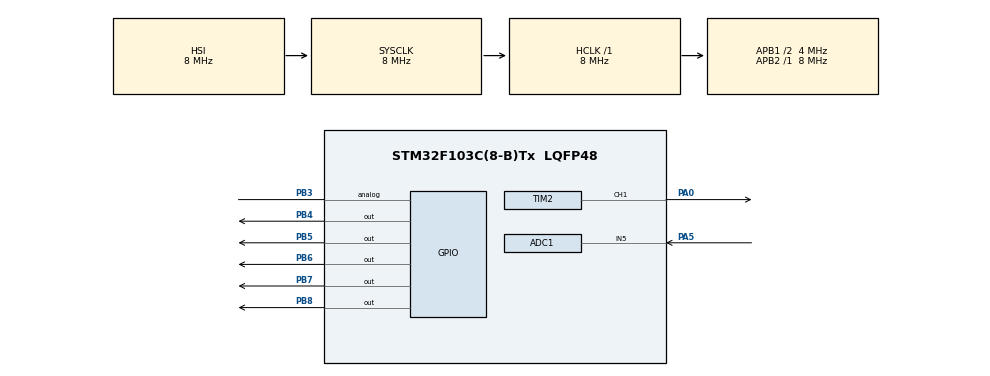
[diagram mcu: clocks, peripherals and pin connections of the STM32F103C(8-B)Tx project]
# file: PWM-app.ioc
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ADC1.Channel-0\#ChannelRegularConversion=ADC_CHANNEL_5
ADC1.NbrOfConversionFlag=1
ADC1.Rank-0\#ChannelRegularConversion=1
ADC1.SamplingTime-0\#ChannelRegularConversion=ADC_SAMPLETIME_1CYCLE_5
ADC1.master=1
Mcu.Family=STM32F1
Mcu.Name=STM32F103C(8-B)Tx
Mcu.Package=LQFP48
NVIC.PriorityGroup=NVIC_PRIORITYGROUP_4
PA0-WKUP.Signal=S_TIM2_CH1_ETR
PA13.Mode=Serial_Wire
PA13.Signal=SYS_JTMS-SWDIO
PA14.Mode=Serial_Wire
PA14.Signal=SYS_JTCK-SWCLK
PA5.Signal=ADCx_IN5
PB3.Signal=GPIO_Analog
PB4.Signal=GPIO_Output
PB5.Signal=GPIO_Output
PB6.Signal=GPIO_Output
PB7.Signal=GPIO_Output
PB8.Signal=GPIO_Output
PD0-OSC_IN.Mode=HSE-External-Oscillator
PD0-OSC_IN.Signal=RCC_OSC_IN
PD1-OSC_OUT.Mode=HSE-External-Oscillator
PD1-OSC_OUT.Signal=RCC_OSC_OUT
ProjectManager.HeapSize=0x200
ProjectManager.StackSize=0x400
ProjectManager.TargetToolchain=STM32CubeIDE
RCC.AHBFreq_Value=8000000
RCC.APB1CLKDivider=RCC_HCLK_DIV2
RCC.APB1Freq_Value=4000000
RCC.APB1TimFreq_Value=8000000
RCC.APB2Freq_Value=8000000
RCC.APB2TimFreq_Value=8000000
RCC.HCLKFreq_Value=8000000
RCC.PLLMUL=RCC_PLL_MUL9
RCC.SYSCLKFreq_VALUE=8000000
RCC.USBFreq_Value=36000000
SH.ADCx_IN5.0=ADC1_IN5,IN5
SH.S_TIM2_CH1_ETR.0=TIM2_CH1,PWM Generation1 CH1
TIM2.AutoReloadPreload=TIM_AUTORELOAD_PRELOAD_DISABLE
TIM2.Channel-PWM\ Generation1\ CH1=TIM_CHANNEL_1
TIM2.Period=20000-1
TIM2.Prescaler=8-1
TIM2.Pulse-PWM\ Generation1\ CH1=10000
VP_TIM2_VS_ClockSourceINT.Mode=Internal
board=custom

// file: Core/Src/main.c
/* USER CODE BEGIN Header */
/**
 ******************************************************************************
 * @file           : main.c
 * @brief          : Main program body
 ******************************************************************************
 * @attention
 *
 * Copyright (c) 2023 STMicroelectronics.
 * All rights reserved.
 *
 * This software is licensed under terms that can be found in the LICENSE file
 * in the root directory of this software component.
 * If no LICENSE file comes with this software, it is provided AS-IS.
 *
 ******************************************************************************
 */
#define DUTY_CYCLE ((int)(((float) AD_RES / 4096)*14)+0)
#define SERVO_ANGLE (int)(((float)DUTY_CYCLE/13)*180)
/* USER CODE END Header */
#include "main.h"

/* USER CODE BEGIN Includes */
#include "../../Drivers/ECAL_Driver/inc/lcd.h"
#include <math.h>

/* USER CODE END Includes */

ADC_HandleTypeDef hadc1;

TIM_HandleTypeDef htim2;

void SystemClock_Config(void);
static void MX_GPIO_Init(void);
static void MX_ADC1_Init(void);
static void MX_TIM2_Init(void);

/* USER CODE BEGIN 0 */
uint16_t AD_RES = 0;
uint16_t AD_RES_Old = 0;

/* USER CODE END 0 */

int main(void) {

	/* MCU Configuration--------------------------------------------------------*/

	/* Reset of all peripherals, Initializes the Flash interface and the Systick. */
	HAL_Init();

	/* Configure the system clock */
	SystemClock_Config();

	/* Initialize all configured peripherals */
	MX_GPIO_Init();
	MX_ADC1_Init();
	MX_TIM2_Init();
	/* USER CODE BEGIN 2 */
	HAL_ADCEx_Calibration_Start(&hadc1);
	HAL_TIM_PWM_Start(&htim2, TIM_CHANNEL_1);
	LCD_Init();
	LCD_Clear();
	LCD_Puts(0, 0, "Servo Angle: ");
	LCD_Puts(0, 1, "Duty Cycle : ");
	//LCD_Puts(0, 1, "U Have Pure Heart");

	/* USER CODE END 2 */

	/* Infinite loop */
	/* USER CODE BEGIN WHILE */
	while (1) {
		HAL_ADC_Start(&hadc1);
		HAL_ADC_PollForConversion(&hadc1, 1);
		AD_RES = HAL_ADC_GetValue(&hadc1);
		//if (abs(AD_RES - AD_RES_Old) >= 5) {
		__HAL_TIM_SET_COMPARE(&htim2, TIM_CHANNEL_1,
				(int)((float)DUTY_CYCLE/100 * (20000-1) ));
		LCD_Puts_int(13, 0, (int) (SERVO_ANGLE));
		LCD_Puts_int(13, 1, (int) (DUTY_CYCLE));
		//AD_RES_Old = AD_RES;
		//}
		HAL_Delay(1);
		/* USER CODE END WHILE */

	}
}

void SystemClock_Config(void) {
	RCC_OscInitTypeDef RCC_OscInitStruct = { 0 };
	RCC_ClkInitTypeDef RCC_ClkInitStruct = { 0 };
	RCC_PeriphCLKInitTypeDef PeriphClkInit = { 0 };

	/** Initializes the RCC Oscillators according to the specified parameters
	 * in the RCC_OscInitTypeDef structure.
	 */
	RCC_OscInitStruct.OscillatorType = RCC_OSCILLATORTYPE_HSI;
	RCC_OscInitStruct.HSIState = RCC_HSI_ON;
	RCC_OscInitStruct.HSICalibrationValue = RCC_HSICALIBRATION_DEFAULT;
	RCC_OscInitStruct.PLL.PLLState = RCC_PLL_NONE;
	if (HAL_RCC_OscConfig(&RCC_OscInitStruct) != HAL_OK) {
		Error_Handler();
	}

	/** Initializes the CPU, AHB and APB buses clocks
	 */
	RCC_ClkInitStruct.ClockType = RCC_CLOCKTYPE_HCLK | RCC_CLOCKTYPE_SYSCLK
			| RCC_CLOCKTYPE_PCLK1 | RCC_CLOCKTYPE_PCLK2;
	RCC_ClkInitStruct.SYSCLKSource = RCC_SYSCLKSOURCE_HSI;
	RCC_ClkInitStruct.AHBCLKDivider = RCC_SYSCLK_DIV1;
	RCC_ClkInitStruct.APB1CLKDivider = RCC_HCLK_DIV2;
	RCC_ClkInitStruct.APB2CLKDivider = RCC_HCLK_DIV1;

	if (HAL_RCC_ClockConfig(&RCC_ClkInitStruct, FLASH_LATENCY_0) != HAL_OK) {
		Error_Handler();
	}
	PeriphClkInit.PeriphClockSelection = RCC_PERIPHCLK_ADC;
	PeriphClkInit.AdcClockSelection = RCC_ADCPCLK2_DIV2;
	if (HAL_RCCEx_PeriphCLKConfig(&PeriphClkInit) != HAL_OK) {
		Error_Handler();
	}
}

static void MX_ADC1_Init(void) {

	ADC_ChannelConfTypeDef sConfig = { 0 };

	/** Common config
	 */
	hadc1.Instance = ADC1;
	hadc1.Init.ScanConvMode = ADC_SCAN_DISABLE;
	hadc1.Init.ContinuousConvMode = DISABLE;
	hadc1.Init.DiscontinuousConvMode = DISABLE;
	hadc1.Init.ExternalTrigConv = ADC_SOFTWARE_START;
	hadc1.Init.DataAlign = ADC_DATAALIGN_RIGHT;
	hadc1.Init.NbrOfConversion = 1;
	if (HAL_ADC_Init(&hadc1) != HAL_OK) {
		Error_Handler();
	}

	/** Configure Regular Channel
	 */
	sConfig.Channel = ADC_CHANNEL_5;
	sConfig.Rank = ADC_REGULAR_RANK_1;
	sConfig.SamplingTime = ADC_SAMPLETIME_1CYCLE_5;
	if (HAL_ADC_ConfigChannel(&hadc1, &sConfig) != HAL_OK) {
		Error_Handler();
	}

}

static void MX_TIM2_Init(void) {

	TIM_ClockConfigTypeDef sClockSourceConfig = { 0 };
	TIM_MasterConfigTypeDef sMasterConfig = { 0 };
	TIM_OC_InitTypeDef sConfigOC = { 0 };

	htim2.Instance = TIM2;
	htim2.Init.Prescaler = 8 - 1;
	htim2.Init.CounterMode = TIM_COUNTERMODE_UP;
	htim2.Init.Period = 20000 - 1;
	htim2.Init.ClockDivision = TIM_CLOCKDIVISION_DIV1;
	htim2.Init.AutoReloadPreload = TIM_AUTORELOAD_PRELOAD_DISABLE;
	if (HAL_TIM_Base_Init(&htim2) != HAL_OK) {
		Error_Handler();
	}
	sClockSourceConfig.ClockSource = TIM_CLOCKSOURCE_INTERNAL;
	if (HAL_TIM_ConfigClockSource(&htim2, &sClockSourceConfig) != HAL_OK) {
		Error_Handler();
	}
	if (HAL_TIM_PWM_Init(&htim2) != HAL_OK) {
		Error_Handler();
	}
	sMasterConfig.MasterOutputTrigger = TIM_TRGO_RESET;
	sMasterConfig.MasterSlaveMode = TIM_MASTERSLAVEMODE_DISABLE;
	if (HAL_TIMEx_MasterConfigSynchronization(&htim2, &sMasterConfig)
			!= HAL_OK) {
		Error_Handler();
	}
	sConfigOC.OCMode = TIM_OCMODE_PWM1;
	sConfigOC.Pulse = 10000;
	sConfigOC.OCPolarity = TIM_OCPOLARITY_HIGH;
	sConfigOC.OCFastMode = TIM_OCFAST_DISABLE;
	if (HAL_TIM_PWM_ConfigChannel(&htim2, &sConfigOC, TIM_CHANNEL_1)
			!= HAL_OK) {
		Error_Handler();
	}
	HAL_TIM_MspPostInit(&htim2);

}

static void MX_GPIO_Init(void) {
	GPIO_InitTypeDef GPIO_InitStruct = { 0 };

	/* GPIO Ports Clock Enable */
	__HAL_RCC_GPIOD_CLK_ENABLE();
	__HAL_RCC_GPIOA_CLK_ENABLE();
	__HAL_RCC_GPIOB_CLK_ENABLE();

	/*Configure GPIO pin Output Level */
	HAL_GPIO_WritePin(GPIOB,
	GPIO_PIN_4 | GPIO_PIN_5 | GPIO_PIN_6 | GPIO_PIN_7 | GPIO_PIN_8,
			GPIO_PIN_RESET);

	/*Configure GPIO pin : PB3 */
	GPIO_InitStruct.Pin = GPIO_PIN_3;
	GPIO_InitStruct.Mode = GPIO_MODE_ANALOG;
	HAL_GPIO_Init(GPIOB, &GPIO_InitStruct);

	/*Configure GPIO pins : PB4 PB5 PB6 PB7
	 PB8 */
	GPIO_InitStruct.Pin = GPIO_PIN_4 | GPIO_PIN_5 | GPIO_PIN_6 | GPIO_PIN_7
			| GPIO_PIN_8;
	GPIO_InitStruct.Mode = GPIO_MODE_OUTPUT_PP;
	GPIO_InitStruct.Pull = GPIO_NOPULL;
	GPIO_InitStruct.Speed = GPIO_SPEED_FREQ_LOW;
	HAL_GPIO_Init(GPIOB, &GPIO_InitStruct);

}

void Error_Handler(void) {
	__disable_irq();
	while (1) {
	}
}
